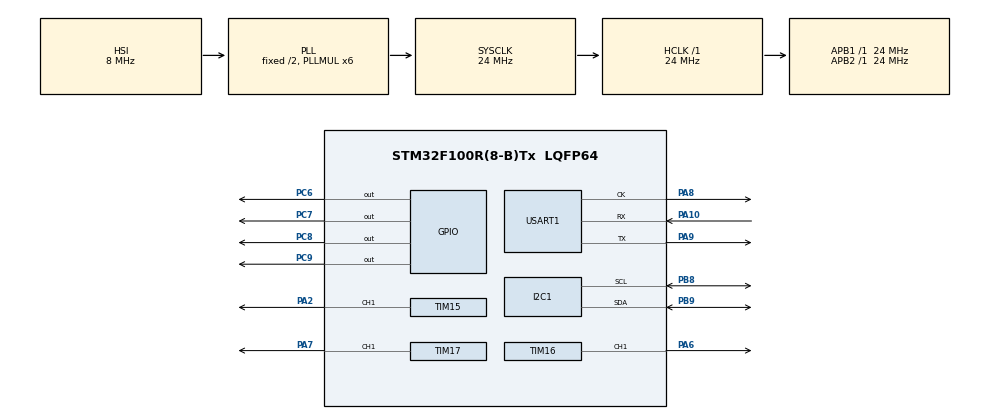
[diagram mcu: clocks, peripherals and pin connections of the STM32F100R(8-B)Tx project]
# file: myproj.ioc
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I2C1.I2C_Mode=I2C_Standard
Mcu.Family=STM32F1
Mcu.Name=STM32F100R(8-B)Tx
Mcu.Package=LQFP64
NVIC.PriorityGroup=NVIC_PRIORITYGROUP_4
PA10.Mode=Synchronous
PA10.Signal=USART1_RX
PA13.Mode=JTAG_4_pins
PA13.Signal=SYS_JTMS-SWDIO
PA14.Mode=JTAG_4_pins
PA14.Signal=SYS_JTCK-SWCLK
PA15.Mode=JTAG_4_pins
PA15.Signal=SYS_JTDI
PA2.Signal=S_TIM15_CH1
PA6.Signal=S_TIM16_CH1
PA7.Signal=S_TIM17_CH1
PA8.Mode=Synchronous
PA8.Signal=USART1_CK
PA9.Mode=Synchronous
PA9.Signal=USART1_TX
PB3.Mode=JTAG_4_pins
PB3.Signal=SYS_JTDO-TRACESWO
PB8.Mode=I2C
PB8.Signal=I2C1_SCL
PB9.Mode=I2C
PB9.Signal=I2C1_SDA
PC6.Signal=GPIO_Output
PC7.GPIO_ModeDefaultOutputPP=GPIO_MODE_OUTPUT_PP
PC7.GPIO_Speed=GPIO_SPEED_FREQ_LOW
PC7.PinState=GPIO_PIN_RESET
PC7.Signal=GPIO_Output
PC8.Signal=GPIO_Output
PC9.GPIO_ModeDefaultOutputPP=GPIO_MODE_OUTPUT_PP
PC9.GPIO_Speed=GPIO_SPEED_FREQ_LOW
PC9.PinState=GPIO_PIN_RESET
PC9.Signal=GPIO_Output
ProjectManager.HeapSize=0x200
ProjectManager.StackSize=0x400
ProjectManager.TargetToolchain=Makefile
RCC.AHBFreq_Value=24000000
RCC.APB1Freq_Value=24000000
RCC.APB1TimFreq_Value=24000000
RCC.APB2Freq_Value=24000000
RCC.APB2TimFreq_Value=24000000
RCC.HCLKFreq_Value=24000000
RCC.PLLMUL=RCC_PLL_MUL6
RCC.SYSCLKFreq_VALUE=24000000
RCC.SYSCLKSource=RCC_SYSCLKSOURCE_PLLCLK
SH.S_TIM15_CH1.0=TIM15_CH1,PWM Generation1 CH1
SH.S_TIM16_CH1.0=TIM16_CH1,PWM Generation1 CH1
SH.S_TIM17_CH1.0=TIM17_CH1,PWM Generation1 CH1
TIM15.AutoReloadPreload=TIM_AUTORELOAD_PRELOAD_ENABLE
TIM15.AutomaticOutput=TIM_AUTOMATICOUTPUT_ENABLE
TIM15.Channel-PWM\ Generation1\ CH1=TIM_CHANNEL_1
TIM15.OCMode_PWM-PWM\ Generation1\ CH1=TIM_OCMODE_PWM2
TIM15.Period=501
TIM15.Prescaler=1
TIM15.Pulse-PWM\ Generation1\ CH1=250
TIM16.AutoReloadPreload=TIM_AUTORELOAD_PRELOAD_ENABLE
TIM16.AutomaticOutput=TIM_AUTOMATICOUTPUT_ENABLE
TIM16.Channel=TIM_CHANNEL_1
TIM16.OCMode_PWM=TIM_OCMODE_PWM2
TIM16.Period=501
TIM16.Prescaler=1
TIM16.Pulse=250
TIM17.AutoReloadPreload=TIM_AUTORELOAD_PRELOAD_ENABLE
TIM17.AutomaticOutput=TIM_AUTOMATICOUTPUT_ENABLE
TIM17.Channel=TIM_CHANNEL_1
TIM17.OCMode_PWM=TIM_OCMODE_PWM2
TIM17.Period=501
TIM17.Prescaler=1
TIM17.Pulse=250
USART1.VirtualMode=VM_SYNC
VP_TIM16_VS_ClockSourceINT.Mode=Enable_Timer
VP_TIM17_VS_ClockSourceINT.Mode=Enable_Timer
board=myproj

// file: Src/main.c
/**
  ******************************************************************************
  * @file           : main.c
  * @brief          : Main program body
  ******************************************************************************
  ** This notice applies to any and all portions of this file
  * that are not between comment pairs USER CODE BEGIN and
  * USER CODE END. Other portions of this file, whether
  * inserted by the user or by software development tools
  * are owned by their respective copyright owners.
  *
  * COPYRIGHT(c) 2018 STMicroelectronics
  *
  * Redistribution and use in source and binary forms, with or without modification,
  * are permitted provided that the following conditions are met:
  *   1. Redistributions of source code must retain the above copyright notice,
  *      this list of conditions and the following disclaimer.
  *   2. Redistributions in binary form must reproduce the above copyright notice,
  *      this list of conditions and the following disclaimer in the documentation
  *      and/or other materials provided with the distribution.
  *   3. Neither the name of STMicroelectronics nor the names of its contributors
  *      may be used to endorse or promote products derived from this software
  *      without specific prior written permission.
  *
  * THIS SOFTWARE IS PROVIDED BY THE COPYRIGHT HOLDERS AND CONTRIBUTORS "AS IS"
  * AND ANY EXPRESS OR IMPLIED WARRANTIES, INCLUDING, BUT NOT LIMITED TO, THE
  * IMPLIED WARRANTIES OF MERCHANTABILITY AND FITNESS FOR A PARTICULAR PURPOSE ARE
  * DISCLAIMED. IN NO EVENT SHALL THE COPYRIGHT HOLDER OR CONTRIBUTORS BE LIABLE
  * FOR ANY DIRECT, INDIRECT, INCIDENTAL, SPECIAL, EXEMPLARY, OR CONSEQUENTIAL
  * DAMAGES (INCLUDING, BUT NOT LIMITED TO, PROCUREMENT OF SUBSTITUTE GOODS OR
  * SERVICES; LOSS OF USE, DATA, OR PROFITS; OR BUSINESS INTERRUPTION) HOWEVER
  * CAUSED AND ON ANY THEORY OF LIABILITY, WHETHER IN CONTRACT, STRICT LIABILITY,
  * OR TORT (INCLUDING NEGLIGENCE OR OTHERWISE) ARISING IN ANY WAY OUT OF THE USE
  * OF THIS SOFTWARE, EVEN IF ADVISED OF THE POSSIBILITY OF SUCH DAMAGE.
  *
  ******************************************************************************
  */
#include "main.h"
#include "stm32f1xx_hal.h"

/* USER CODE BEGIN Includes */
#include "mpu.h"
#include "inv_mpu.h"
#include "mpu9250.h"
#include "i2c.h"
#include "motor.h"
#include "PID.h"
/* USER CODE END Includes */

I2C_HandleTypeDef hi2c1;

TIM_HandleTypeDef htim15;
TIM_HandleTypeDef htim16;
TIM_HandleTypeDef htim17;

USART_HandleTypeDef husart1;

/* USER CODE BEGIN PV */
/* Private variables ---------------------------------------------------------*/

/* USER CODE END PV */

void SystemClock_Config(void);
static void MX_GPIO_Init(void);
static void MX_I2C1_Init(void);
static void MX_USART1_Init(void);
static void MX_TIM16_Init(void);
static void MX_TIM17_Init(void);
static void MX_TIM15_Init(void);

void HAL_TIM_MspPostInit(TIM_HandleTypeDef *htim);

/* USER CODE BEGIN PFP */
/* Private function prototypes -----------------------------------------------*/

/* USER CODE END PFP */

/* USER CODE BEGIN 0 */
mpu9250_t 	m_mpu9250;
PID_t		m_roll_PID;
motor_t 	m_roll_motor;

PID_t		m_pitch_PID;
motor_t 	m_pitch_motor;

void mpu9250_empl_data_handler(mpu9250_t* p_mpu9250, mpu9250_empl_data_type_t type, long *data, unsigned long timestamp) {

}

volatile float roll_speed = 0.0f;
volatile float pitch_speed = 0.0f;

void mpu9250_euler_handler(mpu9250_t* p_mpu9250, float pitch, float roll, float yaw) {
	roll_speed = PID_feed(&m_roll_PID, roll);
	pitch_speed = PID_feed(&m_pitch_PID, pitch);

	motor_go(&m_roll_motor, (int)roll_speed, fabs(roll_speed)/180.0f);
	motor_go(&m_pitch_motor, (int)pitch_speed, fabs(pitch_speed)/180.0f);
}

void mpu9250_fault_handler(mpu9250_t* p_mpu9250, mpu9250_fault_type_t fault) {
	motor_stop(&m_roll_motor);
	motor_stop(&m_pitch_motor);
	char buf[64];
	sprintf(buf, "IMU ERROR: %d\r\n", fault);
	HAL_USART_Transmit(&husart1, buf, strlen(buf), 1000);

}

/* USER CODE END 0 */

int main(void)
{

  /* MCU Configuration----------------------------------------------------------*/

  /* Reset of all peripherals, Initializes the Flash interface and the Systick. */

	HAL_Init();

  /* Configure the system clock */
  SystemClock_Config();

  /* Initialize all configured peripherals */
  MX_GPIO_Init();
  MX_I2C1_Init();
  MX_USART1_Init();
  MX_TIM16_Init();
  MX_TIM17_Init();
  MX_TIM15_Init();
  /* USER CODE BEGIN 2 */
  i2c_set_instance(&hi2c1);

  PID_init(&m_roll_PID, 12.0f, 0.0001, 1.0f);
  PID_init(&m_pitch_PID, 16.0f, 0.0001, 4.0f);
//    PID_init(&m_roll_PID, 16.0f, 0.0001, 4.0f);
//    PID_init(&m_pitch_PID, 32.0f, 0.0001, 16.0f);

  PID_setpoint(&m_roll_PID, 0, 2);
  PID_setpoint(&m_pitch_PID, 0, 2);

  motor_init(&m_roll_motor, GPIOC, GPIO_PIN_9, GPIOC, GPIO_PIN_7, &htim16, TIM_CHANNEL_1);
  motor_init(&m_pitch_motor, GPIOC, GPIO_PIN_8, GPIOC, GPIO_PIN_6, &htim17, TIM_CHANNEL_1);
  char buf[64];

  HAL_Delay(100);

  mpu9250_conf_t mpu9250_conf;
  mpu9250_conf.empl_data_handler 	=mpu9250_empl_data_handler;
  mpu9250_conf.euler_handler 		= mpu9250_euler_handler;
  mpu9250_conf.fault_handler 		= mpu9250_fault_handler;

  // Gyro bias obtained empirically on Apr 2 2018
  mpu9250_conf.gyro_bias[0] 		= 0;
  mpu9250_conf.gyro_bias[1] 		= 0;
  mpu9250_conf.gyro_bias[2] 		= 0;
  mpu9250_init(&m_mpu9250, &mpu9250_conf);

  /* USER CODE END 2 */

  /* Infinite loop */
  while (1)
  {

  /* USER CODE BEGIN 3 */
	  mpu9250_mpu_sampling(&m_mpu9250);

		if(m_mpu9250.num_samples % (2*DEFAULT_MPU_HZ) == 0) {

			memset(buf, 0, sizeof(buf));
			sprintf(buf, "%d,%d,%d,%d,%d\r\n", (int)m_mpu9250.roll, (int)m_mpu9250.pitch, (int)m_mpu9250.yaw,(int)roll_speed,(int)m_roll_PID.e_prev);
			HAL_USART_Transmit(&husart1, buf, strlen(buf), 1000);

		}

  }
  /* USER CODE END 3 */

}

void SystemClock_Config(void)
{

  RCC_OscInitTypeDef RCC_OscInitStruct;
  RCC_ClkInitTypeDef RCC_ClkInitStruct;

    /**Initializes the CPU, AHB and APB busses clocks
    */
  RCC_OscInitStruct.OscillatorType = RCC_OSCILLATORTYPE_HSI;
  RCC_OscInitStruct.HSIState = RCC_HSI_ON;
  RCC_OscInitStruct.HSICalibrationValue = 16;
  RCC_OscInitStruct.PLL.PLLState = RCC_PLL_ON;
  RCC_OscInitStruct.PLL.PLLSource = RCC_PLLSOURCE_HSI_DIV2;
  RCC_OscInitStruct.PLL.PLLMUL = RCC_PLL_MUL6;
  if (HAL_RCC_OscConfig(&RCC_OscInitStruct) != HAL_OK)
  {
    _Error_Handler(__FILE__, __LINE__);
  }

    /**Initializes the CPU, AHB and APB busses clocks
    */
  RCC_ClkInitStruct.ClockType = RCC_CLOCKTYPE_HCLK|RCC_CLOCKTYPE_SYSCLK
                              |RCC_CLOCKTYPE_PCLK1|RCC_CLOCKTYPE_PCLK2;
  RCC_ClkInitStruct.SYSCLKSource = RCC_SYSCLKSOURCE_PLLCLK;
  RCC_ClkInitStruct.AHBCLKDivider = RCC_SYSCLK_DIV1;
  RCC_ClkInitStruct.APB1CLKDivider = RCC_HCLK_DIV1;
  RCC_ClkInitStruct.APB2CLKDivider = RCC_HCLK_DIV1;

  if (HAL_RCC_ClockConfig(&RCC_ClkInitStruct, FLASH_LATENCY_0) != HAL_OK)
  {
    _Error_Handler(__FILE__, __LINE__);
  }

    /**Configure the Systick interrupt time
    */
  HAL_SYSTICK_Config(HAL_RCC_GetHCLKFreq()/1000);

    /**Configure the Systick
    */
  HAL_SYSTICK_CLKSourceConfig(SYSTICK_CLKSOURCE_HCLK);

  /* SysTick_IRQn interrupt configuration */
  HAL_NVIC_SetPriority(SysTick_IRQn, 0, 0);
}

/* I2C1 init function */
static void MX_I2C1_Init(void)
{

  hi2c1.Instance = I2C1;
  hi2c1.Init.ClockSpeed = 100000;
  hi2c1.Init.DutyCycle = I2C_DUTYCYCLE_2;
  hi2c1.Init.OwnAddress1 = 0;
  hi2c1.Init.AddressingMode = I2C_ADDRESSINGMODE_7BIT;
  hi2c1.Init.DualAddressMode = I2C_DUALADDRESS_DISABLE;
  hi2c1.Init.OwnAddress2 = 0;
  hi2c1.Init.GeneralCallMode = I2C_GENERALCALL_DISABLE;
  hi2c1.Init.NoStretchMode = I2C_NOSTRETCH_DISABLE;
  if (HAL_I2C_Init(&hi2c1) != HAL_OK)
  {
    _Error_Handler(__FILE__, __LINE__);
  }

}

/* TIM15 init function */
static void MX_TIM15_Init(void)
{

  TIM_MasterConfigTypeDef sMasterConfig;
  TIM_OC_InitTypeDef sConfigOC;
  TIM_BreakDeadTimeConfigTypeDef sBreakDeadTimeConfig;

  htim15.Instance = TIM15;
  htim15.Init.Prescaler = 1;
  htim15.Init.CounterMode = TIM_COUNTERMODE_UP;
  htim15.Init.Period = 501;
  htim15.Init.ClockDivision = TIM_CLOCKDIVISION_DIV1;
  htim15.Init.RepetitionCounter = 0;
  htim15.Init.AutoReloadPreload = TIM_AUTORELOAD_PRELOAD_ENABLE;
  if (HAL_TIM_PWM_Init(&htim15) != HAL_OK)
  {
    _Error_Handler(__FILE__, __LINE__);
  }

  sMasterConfig.MasterOutputTrigger = TIM_TRGO_RESET;
  sMasterConfig.MasterSlaveMode = TIM_MASTERSLAVEMODE_DISABLE;
  if (HAL_TIMEx_MasterConfigSynchronization(&htim15, &sMasterConfig) != HAL_OK)
  {
    _Error_Handler(__FILE__, __LINE__);
  }

  sConfigOC.OCMode = TIM_OCMODE_PWM2;
  sConfigOC.Pulse = 250;
  sConfigOC.OCPolarity = TIM_OCPOLARITY_HIGH;
  sConfigOC.OCNPolarity = TIM_OCNPOLARITY_HIGH;
  sConfigOC.OCFastMode = TIM_OCFAST_DISABLE;
  sConfigOC.OCIdleState = TIM_OCIDLESTATE_RESET;
  sConfigOC.OCNIdleState = TIM_OCNIDLESTATE_RESET;
  if (HAL_TIM_PWM_ConfigChannel(&htim15, &sConfigOC, TIM_CHANNEL_1) != HAL_OK)
  {
    _Error_Handler(__FILE__, __LINE__);
  }

  sBreakDeadTimeConfig.OffStateRunMode = TIM_OSSR_DISABLE;
  sBreakDeadTimeConfig.OffStateIDLEMode = TIM_OSSI_DISABLE;
  sBreakDeadTimeConfig.LockLevel = TIM_LOCKLEVEL_OFF;
  sBreakDeadTimeConfig.DeadTime = 0;
  sBreakDeadTimeConfig.BreakState = TIM_BREAK_DISABLE;
  sBreakDeadTimeConfig.BreakPolarity = TIM_BREAKPOLARITY_HIGH;
  sBreakDeadTimeConfig.AutomaticOutput = TIM_AUTOMATICOUTPUT_ENABLE;
  if (HAL_TIMEx_ConfigBreakDeadTime(&htim15, &sBreakDeadTimeConfig) != HAL_OK)
  {
    _Error_Handler(__FILE__, __LINE__);
  }

  HAL_TIM_MspPostInit(&htim15);

}

/* TIM16 init function */
static void MX_TIM16_Init(void)
{

  TIM_OC_InitTypeDef sConfigOC;
  TIM_BreakDeadTimeConfigTypeDef sBreakDeadTimeConfig;

  htim16.Instance = TIM16;
  htim16.Init.Prescaler = 1;
  htim16.Init.CounterMode = TIM_COUNTERMODE_UP;
  htim16.Init.Period = 501;
  htim16.Init.ClockDivision = TIM_CLOCKDIVISION_DIV1;
  htim16.Init.RepetitionCounter = 0;
  htim16.Init.AutoReloadPreload = TIM_AUTORELOAD_PRELOAD_ENABLE;
  if (HAL_TIM_Base_Init(&htim16) != HAL_OK)
  {
    _Error_Handler(__FILE__, __LINE__);
  }

  if (HAL_TIM_PWM_Init(&htim16) != HAL_OK)
  {
    _Error_Handler(__FILE__, __LINE__);
  }

  sConfigOC.OCMode = TIM_OCMODE_PWM2;
  sConfigOC.Pulse = 250;
  sConfigOC.OCPolarity = TIM_OCPOLARITY_HIGH;
  sConfigOC.OCNPolarity = TIM_OCNPOLARITY_HIGH;
  sConfigOC.OCFastMode = TIM_OCFAST_DISABLE;
  sConfigOC.OCIdleState = TIM_OCIDLESTATE_RESET;
  sConfigOC.OCNIdleState = TIM_OCNIDLESTATE_RESET;
  if (HAL_TIM_PWM_ConfigChannel(&htim16, &sConfigOC, TIM_CHANNEL_1) != HAL_OK)
  {
    _Error_Handler(__FILE__, __LINE__);
  }

  sBreakDeadTimeConfig.OffStateRunMode = TIM_OSSR_DISABLE;
  sBreakDeadTimeConfig.OffStateIDLEMode = TIM_OSSI_DISABLE;
  sBreakDeadTimeConfig.LockLevel = TIM_LOCKLEVEL_OFF;
  sBreakDeadTimeConfig.DeadTime = 0;
  sBreakDeadTimeConfig.BreakState = TIM_BREAK_DISABLE;
  sBreakDeadTimeConfig.BreakPolarity = TIM_BREAKPOLARITY_HIGH;
  sBreakDeadTimeConfig.AutomaticOutput = TIM_AUTOMATICOUTPUT_ENABLE;
  if (HAL_TIMEx_ConfigBreakDeadTime(&htim16, &sBreakDeadTimeConfig) != HAL_OK)
  {
    _Error_Handler(__FILE__, __LINE__);
  }

  HAL_TIM_MspPostInit(&htim16);

}

/* TIM17 init function */
static void MX_TIM17_Init(void)
{

  TIM_OC_InitTypeDef sConfigOC;
  TIM_BreakDeadTimeConfigTypeDef sBreakDeadTimeConfig;

  htim17.Instance = TIM17;
  htim17.Init.Prescaler = 1;
  htim17.Init.CounterMode = TIM_COUNTERMODE_UP;
  htim17.Init.Period = 501;
  htim17.Init.ClockDivision = TIM_CLOCKDIVISION_DIV1;
  htim17.Init.RepetitionCounter = 0;
  htim17.Init.AutoReloadPreload = TIM_AUTORELOAD_PRELOAD_ENABLE;
  if (HAL_TIM_Base_Init(&htim17) != HAL_OK)
  {
    _Error_Handler(__FILE__, __LINE__);
  }

  if (HAL_TIM_PWM_Init(&htim17) != HAL_OK)
  {
    _Error_Handler(__FILE__, __LINE__);
  }

  sConfigOC.OCMode = TIM_OCMODE_PWM2;
  sConfigOC.Pulse = 250;
  sConfigOC.OCPolarity = TIM_OCPOLARITY_HIGH;
  sConfigOC.OCNPolarity = TIM_OCNPOLARITY_HIGH;
  sConfigOC.OCFastMode = TIM_OCFAST_DISABLE;
  sConfigOC.OCIdleState = TIM_OCIDLESTATE_RESET;
  sConfigOC.OCNIdleState = TIM_OCNIDLESTATE_RESET;
  if (HAL_TIM_PWM_ConfigChannel(&htim17, &sConfigOC, TIM_CHANNEL_1) != HAL_OK)
  {
    _Error_Handler(__FILE__, __LINE__);
  }

  sBreakDeadTimeConfig.OffStateRunMode = TIM_OSSR_DISABLE;
  sBreakDeadTimeConfig.OffStateIDLEMode = TIM_OSSI_DISABLE;
  sBreakDeadTimeConfig.LockLevel = TIM_LOCKLEVEL_OFF;
  sBreakDeadTimeConfig.DeadTime = 0;
  sBreakDeadTimeConfig.BreakState = TIM_BREAK_DISABLE;
  sBreakDeadTimeConfig.BreakPolarity = TIM_BREAKPOLARITY_HIGH;
  sBreakDeadTimeConfig.AutomaticOutput = TIM_AUTOMATICOUTPUT_ENABLE;
  if (HAL_TIMEx_ConfigBreakDeadTime(&htim17, &sBreakDeadTimeConfig) != HAL_OK)
  {
    _Error_Handler(__FILE__, __LINE__);
  }

  HAL_TIM_MspPostInit(&htim17);

}

/* USART1 init function */
static void MX_USART1_Init(void)
{

  husart1.Instance = USART1;
  husart1.Init.BaudRate = 115200;
  husart1.Init.WordLength = USART_WORDLENGTH_8B;
  husart1.Init.StopBits = USART_STOPBITS_1;
  husart1.Init.Parity = USART_PARITY_NONE;
  husart1.Init.Mode = USART_MODE_TX_RX;
  husart1.Init.CLKPolarity = USART_POLARITY_LOW;
  husart1.Init.CLKPhase = USART_PHASE_1EDGE;
  husart1.Init.CLKLastBit = USART_LASTBIT_DISABLE;
  if (HAL_USART_Init(&husart1) != HAL_OK)
  {
    _Error_Handler(__FILE__, __LINE__);
  }

}

/** Configure pins as
        * Analog
        * Input
        * Output
        * EVENT_OUT
        * EXTI
*/
static void MX_GPIO_Init(void)
{

  GPIO_InitTypeDef GPIO_InitStruct;

  /* GPIO Ports Clock Enable */
  __HAL_RCC_GPIOA_CLK_ENABLE();
  __HAL_RCC_GPIOC_CLK_ENABLE();
  __HAL_RCC_GPIOB_CLK_ENABLE();

  /*Configure GPIO pin Output Level */
  HAL_GPIO_WritePin(GPIOC, GPIO_PIN_6|GPIO_PIN_7|GPIO_PIN_8|GPIO_PIN_9, GPIO_PIN_RESET);

  /*Configure GPIO pins : PC6 PC7 PC8 PC9 */
  GPIO_InitStruct.Pin = GPIO_PIN_6|GPIO_PIN_7|GPIO_PIN_8|GPIO_PIN_9;
  GPIO_InitStruct.Mode = GPIO_MODE_OUTPUT_PP;
  GPIO_InitStruct.Speed = GPIO_SPEED_FREQ_LOW;
  HAL_GPIO_Init(GPIOC, &GPIO_InitStruct);

}

void _Error_Handler(char *file, int line)
{
  while(1)
  {
  }
}

/************************ (C) COPYRIGHT STMicroelectronics *****END OF FILE****/
